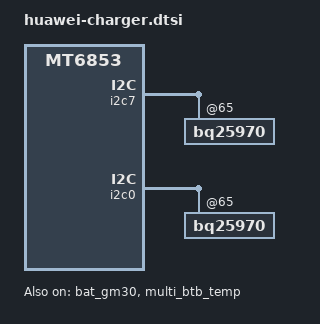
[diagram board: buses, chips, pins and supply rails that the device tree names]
#include "../huawei_charger/mt6853_hjc_huawei_charger.dtsi"

&i2c7 {
	bq25970@65 {
		i2c_recovery_addr = <0x66>;
		status = "ok";
	};

	rt9426_battery@55{
		status = "disabled";
	};
};

&i2c0 {
	bq25970@65 {
		i2c_recovery_addr = <0x66>;
		status = "ok";
	};
};

&huawei_battery {
	use_third_coul = <0>;
};

&huawei_power_proxy  {
	status = "disabled";
};
&huawei_power_supply {
	status = "disabled";
};
&battery_core {
	status = "disabled";
};
&battery_fault {
	status = "disabled";
};
&battery_model {
	status = "disabled";
};
&battery_ui_capacity {
	status = "disabled";
};

&bat_gm30 {
	status = "ok";
};

&multi_btb_temp {
	status = "ok";
	sensor-names =
		"mtk_batt_temp", "comp_para",
		"mtk_batt_temp", "comp_para";
};

&huawei_batt_info {
	shield_ct_sign = <1>;
};

&soc_decimal {
    ui_offset = <50>;
};
